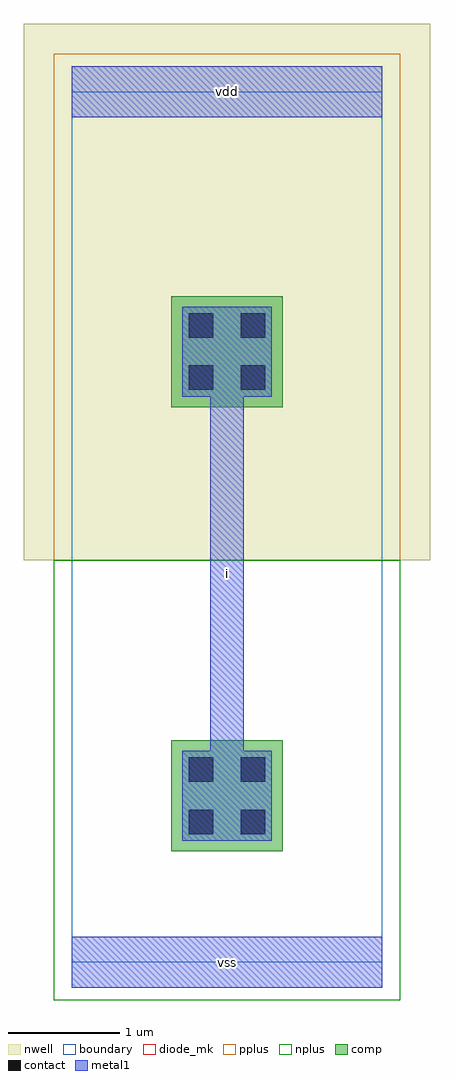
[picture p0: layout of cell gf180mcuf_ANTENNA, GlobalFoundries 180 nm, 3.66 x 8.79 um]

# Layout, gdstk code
import gdstk
lib = gdstk.Library(unit=1e-6, precision=1e-09)
def R(c, l, rs):  # rectangles x0, y0, x1, y1
    for r in rs: c.add(gdstk.rectangle(r[:2], r[2:], *l))
boundary = (0, 0)
nwell = (21, 0)
comp = (22, 0)
pplus = (31, 0)
nplus = (32, 0)
contact = (33, 0)
metal1 = (34, 0)
diode_mk = (115, 5)

gf180mcuf_antenna = lib.new_cell('gf180mcuf_ANTENNA')
R(gf180mcuf_antenna, boundary, [(0,0,2.8,7.84)])
R(gf180mcuf_antenna, nwell, [(-0.43,3.62,3.23,8.45)])
R(gf180mcuf_antenna, comp, [(0.9,1,1.9,2), (0.9,5,1.9,6)])
R(gf180mcuf_antenna, pplus, [(-0.16,3.62,2.96,8.18)])
R(gf180mcuf_antenna, nplus, [(-0.16,-0.34,2.96,3.62)])
R(gf180mcuf_antenna, contact, [(1.055,1.155,1.275,1.375), (1.525,1.155,1.745,1.375), (1.055,1.625,1.275,1.845), (1.525,1.625,1.745,1.845), (1.055,5.155,1.275,5.375), (1.525,5.155,1.745,5.375), (1.055,5.625,1.275,5.845), (1.525,5.625,1.745,5.845)])
R(gf180mcuf_antenna, metal1, [(0,-0.23,2.8,0.23), (0.995,1.095,1.805,1.905), (1.25,1.5,1.55,5.5), (0.995,5.095,1.805,5.905), (0,7.61,2.8,8.07)])
R(gf180mcuf_antenna, diode_mk, [(0.9,1,1.9,2), (0.9,5,1.9,6)])
gf180mcuf_antenna.add(gdstk.Label('vss', (1.4,0), layer=34, texttype=10))
gf180mcuf_antenna.add(gdstk.Label('vdd', (1.4,7.84), layer=34, texttype=10))
gf180mcuf_antenna.add(gdstk.Label('i', (1.4,3.5), layer=34, texttype=10))

lib.write_gds('gf180mcuf_ANTENNA.gds')
